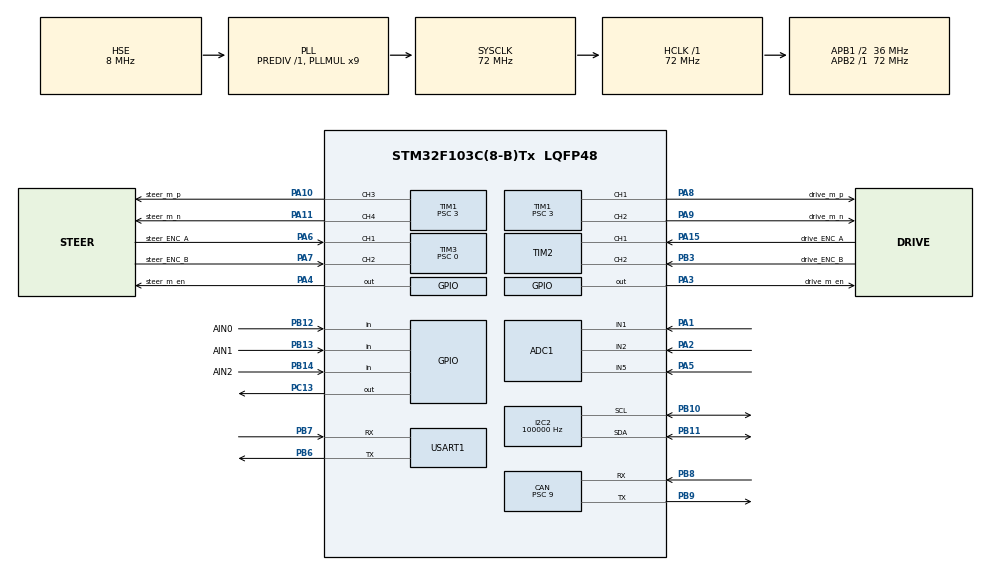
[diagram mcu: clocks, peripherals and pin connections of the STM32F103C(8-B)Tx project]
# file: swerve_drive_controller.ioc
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ADC1.Channel-0\#ChannelRegularConversion=ADC_CHANNEL_1
ADC1.NbrOfConversionFlag=1
ADC1.Rank-0\#ChannelRegularConversion=1
ADC1.SamplingTime-0\#ChannelRegularConversion=ADC_SAMPLETIME_1CYCLE_5
ADC1.master=1
CAN.BS1=CAN_BS1_12TQ
CAN.BS2=CAN_BS2_3TQ
CAN.CalculateBaudRate=250000
CAN.CalculateTimeBit=4000
CAN.CalculateTimeQuantum=250.0
CAN.Prescaler=9
I2C2.ClockSpeed=100000
I2C2.I2C_Mode=I2C_Standard
Mcu.Family=STM32F1
Mcu.Name=STM32F103C(8-B)Tx
Mcu.Package=LQFP48
NVIC.CAN1_SCE_IRQn=true\:0\:0\:false\:false\:true\:true\:true\:true
NVIC.PriorityGroup=NVIC_PRIORITYGROUP_4
NVIC.TIM2_IRQn=true\:0\:0\:false\:false\:true\:true\:true\:true
NVIC.TIM3_IRQn=true\:0\:0\:false\:false\:true\:true\:true\:true
NVIC.USB_LP_CAN1_RX0_IRQn=true\:0\:0\:false\:false\:true\:true\:true\:true
PA1.Signal=ADCx_IN1
PA10.GPIO_Label=steer_m_p
PA10.Signal=S_TIM1_CH3
PA11.GPIO_Label=steer_m_n
PA11.Signal=S_TIM1_CH4
PA13.Mode=Serial_Wire
PA13.Signal=SYS_JTMS-SWDIO
PA14.Mode=Serial_Wire
PA14.Signal=SYS_JTCK-SWCLK
PA15.GPIO_Label=drive_ENC_A
PA15.GPIO_PuPd=GPIO_PULLUP
PA15.Signal=S_TIM2_CH1_ETR
PA2.Signal=ADCx_IN2
PA3.GPIO_Label=drive_m_en
PA3.Signal=GPIO_Output
PA4.GPIO_Label=steer_m_en
PA4.Signal=GPIO_Output
PA5.Signal=ADCx_IN5
PA6.GPIO_Label=steer_ENC_A
PA6.GPIO_PuPd=GPIO_PULLUP
PA6.Signal=S_TIM3_CH1
PA7.GPIO_Label=steer_ENC_B
PA7.GPIO_PuPd=GPIO_PULLUP
PA7.Signal=S_TIM3_CH2
PA8.GPIO_Label=drive_m_p
PA8.Signal=S_TIM1_CH1
PA9.GPIO_Label=drive_m_n
PA9.Signal=S_TIM1_CH2
PB10.Mode=I2C
PB10.Signal=I2C2_SCL
PB11.Mode=I2C
PB11.Signal=I2C2_SDA
PB12.GPIO_Label=AIN0
PB12.GPIO_PuPd=GPIO_PULLDOWN
PB12.Signal=GPIO_Input
PB13.GPIO_Label=AIN1
PB13.GPIO_PuPd=GPIO_PULLDOWN
PB13.Signal=GPIO_Input
PB14.GPIO_Label=AIN2
PB14.GPIO_PuPd=GPIO_PULLDOWN
PB14.Signal=GPIO_Input
PB3.GPIO_Label=drive_ENC_B
PB3.GPIO_PuPd=GPIO_PULLUP
PB3.Signal=S_TIM2_CH2
PB6.Mode=Asynchronous
PB6.Signal=USART1_TX
PB7.Mode=Asynchronous
PB7.Signal=USART1_RX
PB8.Mode=CAN_Activate
PB8.Signal=CAN_RX
PB9.Mode=CAN_Activate
PB9.Signal=CAN_TX
PC13-TAMPER-RTC.PinState=GPIO_PIN_SET
PC13-TAMPER-RTC.Signal=GPIO_Output
PD0-OSC_IN.Mode=HSE-External-Oscillator
PD0-OSC_IN.Signal=RCC_OSC_IN
PD1-OSC_OUT.Mode=HSE-External-Oscillator
PD1-OSC_OUT.Signal=RCC_OSC_OUT
ProjectManager.HeapSize=0x200
ProjectManager.StackSize=0x400
ProjectManager.TargetToolchain=STM32CubeIDE
RCC.ADCPresc=RCC_ADCPCLK2_DIV6
RCC.AHBFreq_Value=72000000
RCC.APB1CLKDivider=RCC_HCLK_DIV2
RCC.APB1Freq_Value=36000000
RCC.APB1TimFreq_Value=72000000
RCC.APB2Freq_Value=72000000
RCC.APB2TimFreq_Value=72000000
RCC.HCLKFreq_Value=72000000
RCC.PLLMUL=RCC_PLL_MUL9
RCC.PLLSourceVirtual=RCC_PLLSOURCE_HSE
RCC.SYSCLKFreq_VALUE=72000000
RCC.SYSCLKSource=RCC_SYSCLKSOURCE_PLLCLK
RCC.USBFreq_Value=72000000
SH.ADCx_IN1.0=ADC1_IN1,IN1
SH.ADCx_IN2.0=ADC1_IN2,IN2
SH.ADCx_IN5.0=ADC1_IN5,IN5
SH.S_TIM1_CH1.0=TIM1_CH1,PWM Generation1 CH1
SH.S_TIM1_CH2.0=TIM1_CH2,PWM Generation2 CH2
SH.S_TIM1_CH3.0=TIM1_CH3,PWM Generation3 CH3
SH.S_TIM1_CH4.0=TIM1_CH4,PWM Generation4 CH4
SH.S_TIM2_CH1_ETR.0=TIM2_CH1,Encoder_Interface
SH.S_TIM2_CH2.0=TIM2_CH2,Encoder_Interface
SH.S_TIM3_CH1.0=TIM3_CH1,Encoder_Interface
SH.S_TIM3_CH2.0=TIM3_CH2,Encoder_Interface
TIM1.Channel-PWM\ Generation1\ CH1=TIM_CHANNEL_1
TIM1.Channel-PWM\ Generation2\ CH2=TIM_CHANNEL_2
TIM1.Channel-PWM\ Generation3\ CH3=TIM_CHANNEL_3
TIM1.Channel-PWM\ Generation4\ CH4=TIM_CHANNEL_4
TIM1.Period=900
TIM1.Prescaler=3
TIM2.AutoReloadPreload=TIM_AUTORELOAD_PRELOAD_ENABLE
TIM2.EncoderMode=TIM_ENCODERMODE_TI12
TIM2.IC1Filter=10
TIM2.IC2Filter=10
TIM3.AutoReloadPreload=TIM_AUTORELOAD_PRELOAD_ENABLE
TIM3.EncoderMode=TIM_ENCODERMODE_TI12
TIM3.IC1Filter=10
TIM3.IC2Filter=10
TIM3.Period=65535
TIM3.Prescaler=0
USART1.VirtualMode=VM_ASYNC
VP_TIM1_VS_ClockSourceINT.Mode=Internal
VP_TIM4_VS_ClockSourceINT.Mode=Internal
board=custom

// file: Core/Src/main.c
/* USER CODE BEGIN Header */
/**
  ******************************************************************************
  * @file           : main.c
  * @brief          : Main program body
  ******************************************************************************
  * @attention
  *
  * Copyright (c) 2023 STMicroelectronics.
  * All rights reserved.
  *
  * This software is licensed under terms that can be found in the LICENSE file
  * in the root directory of this software component.
  * If no LICENSE file comes with this software, it is provided AS-IS.
  *
  ******************************************************************************
  */
/* USER CODE END Header */
#include "main.h"

/* USER CODE BEGIN Includes */
#include <stdbool.h>
#include <math.h>
#include <stdio.h>
#include "motor.h"
#include <string.h>
#include <can.h>
//#include "stepper.h"

/* USER CODE END Includes */

ADC_HandleTypeDef hadc1;

CAN_HandleTypeDef hcan;

I2C_HandleTypeDef hi2c2;

TIM_HandleTypeDef htim1;
TIM_HandleTypeDef htim2;
TIM_HandleTypeDef htim3;
TIM_HandleTypeDef htim4;

UART_HandleTypeDef huart1;

/* USER CODE BEGIN PV */
float motor_speed_wanted = 1.0, motor_angle_wanted = 2.0;
float s1=3.14;
char ss[4];

/* USER CODE END PV */

void SystemClock_Config(void);
static void MX_GPIO_Init(void);
static void MX_TIM3_Init(void);
static void MX_TIM4_Init(void);
static void MX_I2C2_Init(void);
static void MX_TIM2_Init(void);
static void MX_CAN_Init(void);
static void MX_TIM1_Init(void);
static void MX_ADC1_Init(void);
static void MX_USART1_UART_Init(void);
/* USER CODE BEGIN PFP */
#define SLAVE_ADDRESS_LCD 0x4E
void lcd_send_cmd (char cmd){
  char data_u, data_l;
	uint8_t data_t[4];
	data_u = (cmd&0xf0);
	data_l = ((cmd<<4)&0xf0);
	data_t[0] = data_u|0x0C;  //en=1, rs=0
	data_t[1] = data_u|0x08;  //en=0, rs=0
	data_t[2] = data_l|0x0C;  //en=1, rs=0
	data_t[3] = data_l|0x08;  //en=0, rs=0
	HAL_I2C_Master_Transmit (&hi2c2, SLAVE_ADDRESS_LCD,(uint8_t *) data_t, 4, 100);
}

void lcd_send_data (char data){
	char data_u, data_l;
	uint8_t data_t[4];
	data_u = (data&0xf0);
	data_l = ((data<<4)&0xf0);
	data_t[0] = data_u|0x0D;  //en=1, rs=1
	data_t[1] = data_u|0x09;  //en=0, rs=1
	data_t[2] = data_l|0x0D;  //en=1, rs=1
	data_t[3] = data_l|0x09;  //en=0, rs=1
	HAL_I2C_Master_Transmit (&hi2c2, SLAVE_ADDRESS_LCD,(uint8_t *) data_t, 4, 100);
}
void lcd_init (void){
	// 4 bit initialisation
	HAL_Delay(50);  // wait for >40ms
	lcd_send_cmd (0x30);
	HAL_Delay(5);  // wait for >4.1ms
	lcd_send_cmd (0x30);
	HAL_Delay(1);  // wait for >100us
	lcd_send_cmd (0x30);
	HAL_Delay(10);
	lcd_send_cmd (0x20);  // 4bit mode
	HAL_Delay(10);

  // dislay initialisation
	lcd_send_cmd (0x28); // Function set --> DL=0 (4 bit mode), N = 1 (2 line display) F = 0 (5x8 characters)
	HAL_Delay(1);
	lcd_send_cmd (0x08); //Display on/off control --> D=0,C=0, B=0  ---> display off
	HAL_Delay(1);
	lcd_send_cmd (0x01);  // clear display
	HAL_Delay(1);
	HAL_Delay(1);
	lcd_send_cmd (0x06); //Entry mode set --> I/D = 1 (increment cursor) & S = 0 (no shift)
	HAL_Delay(1);
	lcd_send_cmd (0x0C); //Display on/off control --> D = 1, C and B = 0. (Cursor and blink, last two bits)
}

void lcd_setCursor(uint8_t row,uint8_t col){
	row--; col--;
	int row_offsets[] = { 0x00, 0x40, 0x14, 0x54 };
	if ( row > 16 ) {
		row = 16-1;    // we count rows starting w/0
	}
	lcd_send_cmd(0x80 | (col + row_offsets[row]));
}

void lcd_send_string (char *str){
	while (*str) lcd_send_data (*str++);
}
void lcd_clear(){
	lcd_send_cmd (0x01);
	HAL_Delay(10);
}

/* USER CODE END PFP */

int main(void)
{

  /* MCU Configuration--------------------------------------------------------*/

  /* Reset of all peripherals, Initializes the Flash interface and the Systick. */
  HAL_Init();

  /* Configure the system clock */
  SystemClock_Config();

  /* Initialize all configured peripherals */
  MX_GPIO_Init();
  HAL_GPIO_WritePin(GPIOC, GPIO_PIN_13, 0);
  MX_TIM3_Init();
  MX_TIM4_Init();
  MX_I2C2_Init();
  MX_TIM2_Init();
  MX_CAN_Init();
  MX_TIM1_Init();
  MX_ADC1_Init();
  MX_USART1_UART_Init();
  /* USER CODE BEGIN 2 */
  motor_Init();
  CAN_Fonk_Init();
  struct MOTOR motor;
    motor.current=10;
  //stepper_Init();

  lcd_init();
  HAL_Delay(200);
  lcd_clear();
  HAL_Delay(200);
  lcd_send_string("Selamun");
  HAL_Delay(200);

  char data[5];
  int32_t enc_pulses = 0, adress_input = 0;
  static int32_t time_now = 0, time_old = 0;
  bool can_debug, speed_enc_debug, angle_enc_debug, d_pwm_lcd_debug, s_pwm_lcd_debug;
//  HAL_Delay(2000);
//  motor_set_angle(1.57);
//	HAL_Delay(10000);
//	motor_set_angle(-1.57);
//	HAL_Delay(10000);
//	motor_set_pwm(0, 1);

  /* USER CODE END 2 */

  /* Infinite loop */
  /* USER CODE BEGIN WHILE */
  while (1){
//	  while (1){
//		  motor_set_angle(-2.0);
//		  HAL_Delay(5000);
//		  motor_set_angle(2.0);
//		  HAL_Delay(5000);
//	  }
	  //CAN_Transmit_Datas(motor);

	  adress_input = HAL_GPIO_ReadPin(AIN0_GPIO_Port, AIN0_Pin);
	  adress_input += 2 * HAL_GPIO_ReadPin(AIN1_GPIO_Port, AIN1_Pin);
	  adress_input += 4 * HAL_GPIO_ReadPin(AIN2_GPIO_Port, AIN2_Pin);
	  CAN_Receive_motors(&motor_speed_wanted,&motor_angle_wanted);

//	  int16_t aa = (int16_t) motor_speed_wanted *100;
//	  motor_set_pwm(aa, 1);

	  motor_set_angular_speed(motor_speed_wanted);
	  motor_set_angle(motor_angle_wanted);

	  speed_enc_debug = false;
	  can_debug = false;
	  angle_enc_debug = false;
	  d_pwm_lcd_debug = false;
	  s_pwm_lcd_debug = false;
	  if (adress_input == 0 || adress_input == 4){
		  can_debug = true;
	  }
	  else if (adress_input == 6){
		  d_pwm_lcd_debug = true;
	  }
	  else if (adress_input == 5){
		  s_pwm_lcd_debug = true;
	  }
	  else if (adress_input == 2){
		  speed_enc_debug = true;
	  }
	  else if (adress_input == 1){
		  angle_enc_debug = true;
	  }
	  time_now = HAL_GetTick();
	  if (speed_enc_debug){
		  lcd_setCursor(1,1);
		  enc_pulses = drive_encoder_counter(); sprintf(data,"%ld",enc_pulses); lcd_send_string("pals:"); lcd_send_string(data);

		  lcd_setCursor(2,1); lcd_send_string("sp:"); sprintf(data,"%.2lf",motor_get_angular_speed()); lcd_send_string(data);
		  lcd_send_string("  "); sprintf(data,"%.5lf",print_gear_ratio(2)); lcd_send_string(data);

		  if (time_now - time_old >= 100){
			  time_old = HAL_GetTick();  lcd_clear();
		  }
	  }

	  if (d_pwm_lcd_debug){
		  lcd_setCursor(1,1);
		  sprintf(data,"%.0lf",pwm_debug(1)); lcd_send_string("dd:"); lcd_send_string(data);
		  sprintf(data,"i: %.4lf",pwm_debug(2)); lcd_send_string(data);
		  lcd_setCursor(2,1);
		  sprintf(data,"o: %.4lf",pwm_debug(3)); lcd_send_string(data);
		  //sprintf(data," tk: %ld",HAL_GetTick()); lcd_send_string(data);

		  if (time_now - time_old >= 100){
			  time_old = HAL_GetTick();  lcd_clear();
		  }
	  }

	  if (s_pwm_lcd_debug){
		  lcd_setCursor(1,1);
		  sprintf(data,"%.0lf",pwm_debug(4)); lcd_send_string("sd:"); lcd_send_string(data);
		  sprintf(data,"i: %.4lf",pwm_debug(5)); lcd_send_string(data);
		  lcd_setCursor(2,1);
		  sprintf(data,"o: %.4lf",pwm_debug(6)); lcd_send_string(data);
		  //sprintf(data," tk: %ld",HAL_GetTick()); lcd_send_string(data);

		  if (time_now - time_old >= 100){
			  time_old = HAL_GetTick();  lcd_clear();
		  }
	  }

	  //angle_enc_debug = false;
	  if (angle_enc_debug){
		  lcd_setCursor(1,1);
		  enc_pulses = steer_encoder_counter(); sprintf(data,"%ld",enc_pulses); lcd_send_string("pals:"); lcd_send_string(data);

		  lcd_setCursor(2,1); lcd_send_string("an:"); sprintf(data,"%.2lf",motor_get_angle()); lcd_send_string(data);

		  lcd_send_string(" "); sprintf(data,"%.5lf",print_gear_ratio(1)); lcd_send_string(data);

		  if (time_now - time_old >= 100){
			  time_old = HAL_GetTick();  lcd_clear();
		  }
	  }

	  //can_debug = true;
	  if (can_debug){
		  lcd_setCursor(1,1); sprintf(data,"R%d", get_can_numbers(1)); lcd_send_string(data);
		  lcd_setCursor(1,7); sprintf(data,"%.2f",motor_speed_wanted); lcd_send_string("s:"); lcd_send_string(data);
		  lcd_setCursor(2,1); sprintf(data,"T%d", get_can_numbers(2)); lcd_send_string(data);
		  lcd_setCursor(2,7); lcd_send_string("a:"); sprintf(data,"%.2f",motor_angle_wanted); lcd_send_string(data);

		  if (time_now - time_old >= 100){
			  time_old = HAL_GetTick();  lcd_clear();
		  }
	  }
    /* USER CODE END WHILE */

  }
}

void SystemClock_Config(void)
{
  RCC_OscInitTypeDef RCC_OscInitStruct = {0};
  RCC_ClkInitTypeDef RCC_ClkInitStruct = {0};
  RCC_PeriphCLKInitTypeDef PeriphClkInit = {0};

  /** Initializes the RCC Oscillators according to the specified parameters
  * in the RCC_OscInitTypeDef structure.
  */
  RCC_OscInitStruct.OscillatorType = RCC_OSCILLATORTYPE_HSE;
  RCC_OscInitStruct.HSEState = RCC_HSE_ON;
  RCC_OscInitStruct.HSEPredivValue = RCC_HSE_PREDIV_DIV1;
  RCC_OscInitStruct.HSIState = RCC_HSI_ON;
  RCC_OscInitStruct.PLL.PLLState = RCC_PLL_ON;
  RCC_OscInitStruct.PLL.PLLSource = RCC_PLLSOURCE_HSE;
  RCC_OscInitStruct.PLL.PLLMUL = RCC_PLL_MUL9;
  if (HAL_RCC_OscConfig(&RCC_OscInitStruct) != HAL_OK)
  {
    Error_Handler();
  }

  /** Initializes the CPU, AHB and APB buses clocks
  */
  RCC_ClkInitStruct.ClockType = RCC_CLOCKTYPE_HCLK|RCC_CLOCKTYPE_SYSCLK
                              |RCC_CLOCKTYPE_PCLK1|RCC_CLOCKTYPE_PCLK2;
  RCC_ClkInitStruct.SYSCLKSource = RCC_SYSCLKSOURCE_PLLCLK;
  RCC_ClkInitStruct.AHBCLKDivider = RCC_SYSCLK_DIV1;
  RCC_ClkInitStruct.APB1CLKDivider = RCC_HCLK_DIV2;
  RCC_ClkInitStruct.APB2CLKDivider = RCC_HCLK_DIV1;

  if (HAL_RCC_ClockConfig(&RCC_ClkInitStruct, FLASH_LATENCY_2) != HAL_OK)
  {
    Error_Handler();
  }
  PeriphClkInit.PeriphClockSelection = RCC_PERIPHCLK_ADC;
  PeriphClkInit.AdcClockSelection = RCC_ADCPCLK2_DIV6;
  if (HAL_RCCEx_PeriphCLKConfig(&PeriphClkInit) != HAL_OK)
  {
    Error_Handler();
  }
}

static void MX_ADC1_Init(void)
{

  ADC_ChannelConfTypeDef sConfig = {0};

  /** Common config
  */
  hadc1.Instance = ADC1;
  hadc1.Init.ScanConvMode = ADC_SCAN_DISABLE;
  hadc1.Init.ContinuousConvMode = DISABLE;
  hadc1.Init.DiscontinuousConvMode = DISABLE;
  hadc1.Init.ExternalTrigConv = ADC_SOFTWARE_START;
  hadc1.Init.DataAlign = ADC_DATAALIGN_RIGHT;
  hadc1.Init.NbrOfConversion = 1;
  if (HAL_ADC_Init(&hadc1) != HAL_OK)
  {
    Error_Handler();
  }

  /** Configure Regular Channel
  */
  sConfig.Channel = ADC_CHANNEL_1;
  sConfig.Rank = ADC_REGULAR_RANK_1;
  sConfig.SamplingTime = ADC_SAMPLETIME_1CYCLE_5;
  if (HAL_ADC_ConfigChannel(&hadc1, &sConfig) != HAL_OK)
  {
    Error_Handler();
  }

}

static void MX_CAN_Init(void)
{

  hcan.Instance = CAN1;
  hcan.Init.Prescaler = 9;
  hcan.Init.Mode = CAN_MODE_NORMAL;
  hcan.Init.SyncJumpWidth = CAN_SJW_1TQ;
  hcan.Init.TimeSeg1 = CAN_BS1_12TQ;
  hcan.Init.TimeSeg2 = CAN_BS2_3TQ;
  hcan.Init.TimeTriggeredMode = DISABLE;
  hcan.Init.AutoBusOff = DISABLE;
  hcan.Init.AutoWakeUp = DISABLE;
  hcan.Init.AutoRetransmission = DISABLE;
  hcan.Init.ReceiveFifoLocked = DISABLE;
  hcan.Init.TransmitFifoPriority = DISABLE;
  if (HAL_CAN_Init(&hcan) != HAL_OK)
  {
    Error_Handler();
  }

}

static void MX_I2C2_Init(void)
{

  hi2c2.Instance = I2C2;
  hi2c2.Init.ClockSpeed = 100000;
  hi2c2.Init.DutyCycle = I2C_DUTYCYCLE_2;
  hi2c2.Init.OwnAddress1 = 0;
  hi2c2.Init.AddressingMode = I2C_ADDRESSINGMODE_7BIT;
  hi2c2.Init.DualAddressMode = I2C_DUALADDRESS_DISABLE;
  hi2c2.Init.OwnAddress2 = 0;
  hi2c2.Init.GeneralCallMode = I2C_GENERALCALL_DISABLE;
  hi2c2.Init.NoStretchMode = I2C_NOSTRETCH_DISABLE;
  if (HAL_I2C_Init(&hi2c2) != HAL_OK)
  {
    Error_Handler();
  }

}

static void MX_TIM1_Init(void)
{

  TIM_ClockConfigTypeDef sClockSourceConfig = {0};
  TIM_MasterConfigTypeDef sMasterConfig = {0};
  TIM_OC_InitTypeDef sConfigOC = {0};
  TIM_BreakDeadTimeConfigTypeDef sBreakDeadTimeConfig = {0};

  htim1.Instance = TIM1;
  htim1.Init.Prescaler = 3;
  htim1.Init.CounterMode = TIM_COUNTERMODE_UP;
  htim1.Init.Period = 900;
  htim1.Init.ClockDivision = TIM_CLOCKDIVISION_DIV1;
  htim1.Init.RepetitionCounter = 0;
  htim1.Init.AutoReloadPreload = TIM_AUTORELOAD_PRELOAD_DISABLE;
  if (HAL_TIM_Base_Init(&htim1) != HAL_OK)
  {
    Error_Handler();
  }
  sClockSourceConfig.ClockSource = TIM_CLOCKSOURCE_INTERNAL;
  if (HAL_TIM_ConfigClockSource(&htim1, &sClockSourceConfig) != HAL_OK)
  {
    Error_Handler();
  }
  if (HAL_TIM_PWM_Init(&htim1) != HAL_OK)
  {
    Error_Handler();
  }
  sMasterConfig.MasterOutputTrigger = TIM_TRGO_RESET;
  sMasterConfig.MasterSlaveMode = TIM_MASTERSLAVEMODE_DISABLE;
  if (HAL_TIMEx_MasterConfigSynchronization(&htim1, &sMasterConfig) != HAL_OK)
  {
    Error_Handler();
  }
  sConfigOC.OCMode = TIM_OCMODE_PWM1;
  sConfigOC.Pulse = 0;
  sConfigOC.OCPolarity = TIM_OCPOLARITY_HIGH;
  sConfigOC.OCNPolarity = TIM_OCNPOLARITY_HIGH;
  sConfigOC.OCFastMode = TIM_OCFAST_DISABLE;
  sConfigOC.OCIdleState = TIM_OCIDLESTATE_RESET;
  sConfigOC.OCNIdleState = TIM_OCNIDLESTATE_RESET;
  if (HAL_TIM_PWM_ConfigChannel(&htim1, &sConfigOC, TIM_CHANNEL_1) != HAL_OK)
  {
    Error_Handler();
  }
  if (HAL_TIM_PWM_ConfigChannel(&htim1, &sConfigOC, TIM_CHANNEL_2) != HAL_OK)
  {
    Error_Handler();
  }
  if (HAL_TIM_PWM_ConfigChannel(&htim1, &sConfigOC, TIM_CHANNEL_3) != HAL_OK)
  {
    Error_Handler();
  }
  if (HAL_TIM_PWM_ConfigChannel(&htim1, &sConfigOC, TIM_CHANNEL_4) != HAL_OK)
  {
    Error_Handler();
  }
  sBreakDeadTimeConfig.OffStateRunMode = TIM_OSSR_DISABLE;
  sBreakDeadTimeConfig.OffStateIDLEMode = TIM_OSSI_DISABLE;
  sBreakDeadTimeConfig.LockLevel = TIM_LOCKLEVEL_OFF;
  sBreakDeadTimeConfig.DeadTime = 0;
  sBreakDeadTimeConfig.BreakState = TIM_BREAK_DISABLE;
  sBreakDeadTimeConfig.BreakPolarity = TIM_BREAKPOLARITY_HIGH;
  sBreakDeadTimeConfig.AutomaticOutput = TIM_AUTOMATICOUTPUT_DISABLE;
  if (HAL_TIMEx_ConfigBreakDeadTime(&htim1, &sBreakDeadTimeConfig) != HAL_OK)
  {
    Error_Handler();
  }
  HAL_TIM_MspPostInit(&htim1);

}

static void MX_TIM2_Init(void)
{

  TIM_Encoder_InitTypeDef sConfig = {0};
  TIM_MasterConfigTypeDef sMasterConfig = {0};

  htim2.Instance = TIM2;
  htim2.Init.Prescaler = 0;
  htim2.Init.CounterMode = TIM_COUNTERMODE_UP;
  htim2.Init.Period = 65535;
  htim2.Init.ClockDivision = TIM_CLOCKDIVISION_DIV1;
  htim2.Init.AutoReloadPreload = TIM_AUTORELOAD_PRELOAD_ENABLE;
  sConfig.EncoderMode = TIM_ENCODERMODE_TI12;
  sConfig.IC1Polarity = TIM_ICPOLARITY_RISING;
  sConfig.IC1Selection = TIM_ICSELECTION_DIRECTTI;
  sConfig.IC1Prescaler = TIM_ICPSC_DIV1;
  sConfig.IC1Filter = 10;
  sConfig.IC2Polarity = TIM_ICPOLARITY_RISING;
  sConfig.IC2Selection = TIM_ICSELECTION_DIRECTTI;
  sConfig.IC2Prescaler = TIM_ICPSC_DIV1;
  sConfig.IC2Filter = 10;
  if (HAL_TIM_Encoder_Init(&htim2, &sConfig) != HAL_OK)
  {
    Error_Handler();
  }
  sMasterConfig.MasterOutputTrigger = TIM_TRGO_RESET;
  sMasterConfig.MasterSlaveMode = TIM_MASTERSLAVEMODE_DISABLE;
  if (HAL_TIMEx_MasterConfigSynchronization(&htim2, &sMasterConfig) != HAL_OK)
  {
    Error_Handler();
  }

}

static void MX_TIM3_Init(void)
{

  TIM_Encoder_InitTypeDef sConfig = {0};
  TIM_MasterConfigTypeDef sMasterConfig = {0};

  htim3.Instance = TIM3;
  htim3.Init.Prescaler = 0;
  htim3.Init.CounterMode = TIM_COUNTERMODE_UP;
  htim3.Init.Period = 65535;
  htim3.Init.ClockDivision = TIM_CLOCKDIVISION_DIV1;
  htim3.Init.AutoReloadPreload = TIM_AUTORELOAD_PRELOAD_ENABLE;
  sConfig.EncoderMode = TIM_ENCODERMODE_TI12;
  sConfig.IC1Polarity = TIM_ICPOLARITY_RISING;
  sConfig.IC1Selection = TIM_ICSELECTION_DIRECTTI;
  sConfig.IC1Prescaler = TIM_ICPSC_DIV1;
  sConfig.IC1Filter = 10;
  sConfig.IC2Polarity = TIM_ICPOLARITY_RISING;
  sConfig.IC2Selection = TIM_ICSELECTION_DIRECTTI;
  sConfig.IC2Prescaler = TIM_ICPSC_DIV1;
  sConfig.IC2Filter = 10;
  if (HAL_TIM_Encoder_Init(&htim3, &sConfig) != HAL_OK)
  {
    Error_Handler();
  }
  sMasterConfig.MasterOutputTrigger = TIM_TRGO_RESET;
  sMasterConfig.MasterSlaveMode = TIM_MASTERSLAVEMODE_DISABLE;
  if (HAL_TIMEx_MasterConfigSynchronization(&htim3, &sMasterConfig) != HAL_OK)
  {
    Error_Handler();
  }

}

static void MX_TIM4_Init(void)
{

  TIM_ClockConfigTypeDef sClockSourceConfig = {0};
  TIM_MasterConfigTypeDef sMasterConfig = {0};

  htim4.Instance = TIM4;
  htim4.Init.Prescaler = 0;
  htim4.Init.CounterMode = TIM_COUNTERMODE_UP;
  htim4.Init.Period = 65535;
  htim4.Init.ClockDivision = TIM_CLOCKDIVISION_DIV1;
  htim4.Init.AutoReloadPreload = TIM_AUTORELOAD_PRELOAD_DISABLE;
  if (HAL_TIM_Base_Init(&htim4) != HAL_OK)
  {
    Error_Handler();
  }
  sClockSourceConfig.ClockSource = TIM_CLOCKSOURCE_INTERNAL;
  if (HAL_TIM_ConfigClockSource(&htim4, &sClockSourceConfig) != HAL_OK)
  {
    Error_Handler();
  }
  sMasterConfig.MasterOutputTrigger = TIM_TRGO_RESET;
  sMasterConfig.MasterSlaveMode = TIM_MASTERSLAVEMODE_DISABLE;
  if (HAL_TIMEx_MasterConfigSynchronization(&htim4, &sMasterConfig) != HAL_OK)
  {
    Error_Handler();
  }

}

static void MX_USART1_UART_Init(void)
{

  huart1.Instance = USART1;
  huart1.Init.BaudRate = 115200;
  huart1.Init.WordLength = UART_WORDLENGTH_8B;
  huart1.Init.StopBits = UART_STOPBITS_1;
  huart1.Init.Parity = UART_PARITY_NONE;
  huart1.Init.Mode = UART_MODE_TX_RX;
  huart1.Init.HwFlowCtl = UART_HWCONTROL_NONE;
  huart1.Init.OverSampling = UART_OVERSAMPLING_16;
  if (HAL_UART_Init(&huart1) != HAL_OK)
  {
    Error_Handler();
  }

}

static void MX_GPIO_Init(void)
{
  GPIO_InitTypeDef GPIO_InitStruct = {0};

  /* GPIO Ports Clock Enable */
  __HAL_RCC_GPIOC_CLK_ENABLE();
  __HAL_RCC_GPIOD_CLK_ENABLE();
  __HAL_RCC_GPIOA_CLK_ENABLE();
  __HAL_RCC_GPIOB_CLK_ENABLE();

  /*Configure GPIO pin Output Level */
  HAL_GPIO_WritePin(GPIOC, GPIO_PIN_13, GPIO_PIN_SET);

  /*Configure GPIO pin Output Level */
  HAL_GPIO_WritePin(GPIOA, drive_m_en_Pin|steer_m_en_Pin, GPIO_PIN_RESET);

  /*Configure GPIO pin : PC13 */
  GPIO_InitStruct.Pin = GPIO_PIN_13;
  GPIO_InitStruct.Mode = GPIO_MODE_OUTPUT_PP;
  GPIO_InitStruct.Pull = GPIO_NOPULL;
  GPIO_InitStruct.Speed = GPIO_SPEED_FREQ_LOW;
  HAL_GPIO_Init(GPIOC, &GPIO_InitStruct);

  /*Configure GPIO pins : drive_m_en_Pin steer_m_en_Pin */
  GPIO_InitStruct.Pin = drive_m_en_Pin|steer_m_en_Pin;
  GPIO_InitStruct.Mode = GPIO_MODE_OUTPUT_PP;
  GPIO_InitStruct.Pull = GPIO_NOPULL;
  GPIO_InitStruct.Speed = GPIO_SPEED_FREQ_LOW;
  HAL_GPIO_Init(GPIOA, &GPIO_InitStruct);

  /*Configure GPIO pins : AIN0_Pin AIN1_Pin AIN2_Pin */
  GPIO_InitStruct.Pin = AIN0_Pin|AIN1_Pin|AIN2_Pin;
  GPIO_InitStruct.Mode = GPIO_MODE_INPUT;
  GPIO_InitStruct.Pull = GPIO_PULLDOWN;
  HAL_GPIO_Init(GPIOB, &GPIO_InitStruct);

}

void Error_Handler(void)
{
  __disable_irq();
  while (1)
  {
  }
}
